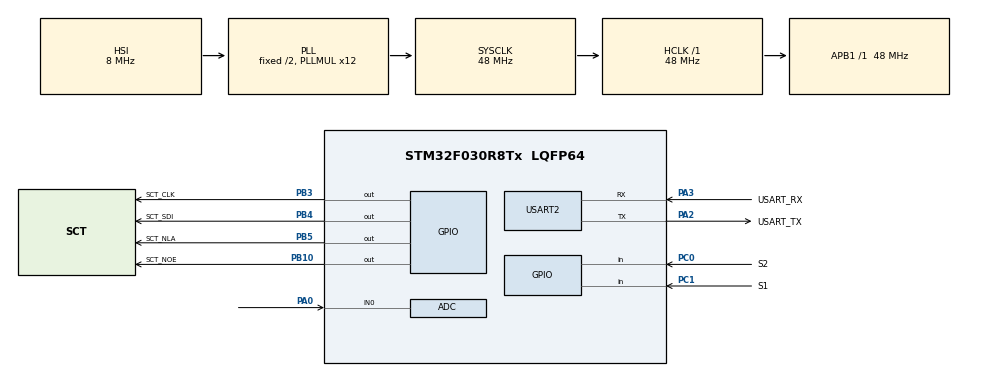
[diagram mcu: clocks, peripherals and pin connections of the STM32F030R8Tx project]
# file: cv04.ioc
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ADC.ContinuousConvMode=ENABLE
ADC.Overrun=ADC_OVR_DATA_OVERWRITTEN
ADC.SamplingTime=ADC_SAMPLETIME_239CYCLES_5
Mcu.Family=STM32F0
Mcu.Name=STM32F030R8Tx
Mcu.Package=LQFP64
NVIC.ADC1_IRQn=true\:0\:0\:false\:false\:true\:true\:true\:true
PA0.Mode=IN0
PA0.Signal=ADC_IN0
PA13.GPIO_Label=TMS
PA13.Mode=Serial_Wire
PA13.Signal=SYS_SWDIO
PA14.GPIO_Label=TCK
PA14.Mode=Serial_Wire
PA14.Signal=SYS_SWCLK
PA2.GPIO_Label=USART_TX
PA2.GPIO_Mode=GPIO_MODE_AF_PP
PA2.GPIO_PuPd=GPIO_NOPULL
PA2.GPIO_Speed=GPIO_SPEED_FREQ_LOW
PA2.Mode=Asynchronous
PA2.Signal=USART2_TX
PA3.GPIO_Label=USART_RX
PA3.GPIO_Mode=GPIO_MODE_AF_PP
PA3.GPIO_PuPd=GPIO_NOPULL
PA3.GPIO_Speed=GPIO_SPEED_FREQ_LOW
PA3.Mode=Asynchronous
PA3.Signal=USART2_RX
PB10.GPIO_Label=SCT_NOE
PB10.Signal=GPIO_Output
PB3.GPIO_Label=SCT_CLK
PB3.Signal=GPIO_Output
PB4.GPIO_Label=SCT_SDI
PB4.Signal=GPIO_Output
PB5.GPIO_Label=SCT_NLA
PB5.Signal=GPIO_Output
PC0.GPIO_Label=S2
PC0.GPIO_PuPd=GPIO_PULLUP
PC0.Signal=GPIO_Input
PC1.GPIO_Label=S1
PC1.GPIO_PuPd=GPIO_PULLUP
PC1.Signal=GPIO_Input
PC14-OSC32_IN.Mode=LSE-External-Oscillator
PC14-OSC32_IN.Signal=RCC_OSC32_IN
PC15-OSC32_OUT.Mode=LSE-External-Oscillator
PC15-OSC32_OUT.Signal=RCC_OSC32_OUT
PF0-OSC_IN.Mode=HSE-External-Clock-Source
PF0-OSC_IN.Signal=RCC_OSC_IN
PF1-OSC_OUT.Signal=RCC_OSC_OUT
ProjectManager.HeapSize=0x200
ProjectManager.StackSize=0x400
ProjectManager.TargetToolchain=STM32CubeIDE
RCC.AHBFreq_Value=48000000
RCC.APB1Freq_Value=48000000
RCC.APB1TimFreq_Value=48000000
RCC.HCLKFreq_Value=48000000
RCC.PLLMUL=RCC_PLL_MUL12
RCC.SYSCLKFreq_VALUE=48000000
RCC.SYSCLKSource=RCC_SYSCLKSOURCE_PLLCLK
USART2.VirtualMode-Asynchronous=VM_ASYNC
VP_ADC_TempSens_Input.Mode=IN-TempSens
VP_ADC_Vref_Input.Mode=IN-Vrefint
board=NUCLEO-F030R8

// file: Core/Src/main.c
/* USER CODE BEGIN Header */
/**
 ******************************************************************************
 * @file           : main.c
 * @brief          : Main program body
 ******************************************************************************
 * @attention
 *
 * Copyright (c) 2025 STMicroelectronics.
 * All rights reserved.
 *
 * This software is licensed under terms that can be found in the LICENSE file
 * in the root directory of this software component.
 * If no LICENSE file comes with this software, it is provided AS-IS.
 *
 ******************************************************************************
 */
/* USER CODE END Header */
#include "main.h"

/* USER CODE BEGIN Includes */
#include "sct.h"
/* USER CODE END Includes */

/* USER CODE BEGIN PD */
#define ADC_Q 12

/* Temperature sensor calibration value address */
#define TEMP110_CAL_ADDR ((uint16_t*) ((uint32_t) 0x1FFFF7C2))
#define TEMP30_CAL_ADDR ((uint16_t*) ((uint32_t) 0x1FFFF7B8))
/* Internal voltage reference calibration value address */
#define VREFINT_CAL_ADDR ((uint16_t*) ((uint32_t) 0x1FFFF7BA))

/* USER CODE END PD */

ADC_HandleTypeDef hadc;

UART_HandleTypeDef huart2;

void SystemClock_Config(void);
static void MX_GPIO_Init(void);
static void MX_USART2_UART_Init(void);
static void MX_ADC_Init(void);

/* USER CODE BEGIN 0 */
static volatile uint32_t raw_pot;
static volatile uint32_t raw_volt;
static volatile int32_t raw_temp;

void HAL_ADC_ConvCpltCallback(ADC_HandleTypeDef* hadc)
{
	static uint8_t channel = 0;
	switch (channel){
	case 0:
		static uint32_t avg_pot;
		raw_pot = avg_pot >> ADC_Q;
		avg_pot -= raw_pot;
		avg_pot += HAL_ADC_GetValue(hadc);
		break;
	case 1:
		raw_temp = HAL_ADC_GetValue(hadc);
		break;
	case 2:
		raw_volt = HAL_ADC_GetValue(hadc);
		break;
	}

	if (__HAL_ADC_GET_FLAG(hadc, ADC_FLAG_EOS)) channel = 0;
	else channel++;

}
/* USER CODE END 0 */

int main(void)
{

  /* MCU Configuration--------------------------------------------------------*/

  /* Reset of all peripherals, Initializes the Flash interface and the Systick. */
  HAL_Init();

  /* Configure the system clock */
  SystemClock_Config();

  /* Initialize all configured peripherals */
  MX_GPIO_Init();
  MX_USART2_UART_Init();
  MX_ADC_Init();
  /* USER CODE BEGIN 2 */
	HAL_ADCEx_Calibration_Start(&hadc);
	HAL_ADC_Start_IT(&hadc);

	sct_init();

	uint16_t value;
  /* USER CODE END 2 */

  /* Infinite loop */
	while (1)
	{

    /* USER CODE BEGIN 3 */

		static enum { SHOW_POT, SHOW_VOLT, SHOW_TEMP } state = SHOW_POT;

		if(HAL_GPIO_ReadPin(S1_GPIO_Port, S1_Pin)==0){
			state = SHOW_VOLT;
		}

		if(HAL_GPIO_ReadPin(S2_GPIO_Port, S2_Pin)==0){
			state = SHOW_TEMP;
		}

		switch (state){
		case SHOW_POT:
			value = (raw_pot*501)/4096;
			uint16_t led = (value*9)/501;
			sct_value(value,led);
			break;
		case SHOW_VOLT:
			uint32_t voltage = 330 * (*VREFINT_CAL_ADDR) / raw_volt;
			sct_value(voltage,8);
			HAL_Delay(1000);
			state = SHOW_POT;
			break;
		case SHOW_TEMP:
			int32_t temperature = (raw_temp - (int32_t)(*TEMP30_CAL_ADDR));
			temperature = temperature * (int32_t)(110 - 30);
			temperature = temperature / (int32_t)(*TEMP110_CAL_ADDR - *TEMP30_CAL_ADDR);
			temperature = temperature + 30;
			sct_value(temperature,8);
			HAL_Delay(1000);
			state = SHOW_POT;
			break;
		}

	}
  /* USER CODE END 3 */
}

void SystemClock_Config(void)
{
  RCC_OscInitTypeDef RCC_OscInitStruct = {0};
  RCC_ClkInitTypeDef RCC_ClkInitStruct = {0};

  /** Initializes the RCC Oscillators according to the specified parameters
  * in the RCC_OscInitTypeDef structure.
  */
  RCC_OscInitStruct.OscillatorType = RCC_OSCILLATORTYPE_HSI|RCC_OSCILLATORTYPE_HSI14;
  RCC_OscInitStruct.HSIState = RCC_HSI_ON;
  RCC_OscInitStruct.HSI14State = RCC_HSI14_ON;
  RCC_OscInitStruct.HSICalibrationValue = RCC_HSICALIBRATION_DEFAULT;
  RCC_OscInitStruct.HSI14CalibrationValue = 16;
  RCC_OscInitStruct.PLL.PLLState = RCC_PLL_ON;
  RCC_OscInitStruct.PLL.PLLSource = RCC_PLLSOURCE_HSI;
  RCC_OscInitStruct.PLL.PLLMUL = RCC_PLL_MUL12;
  RCC_OscInitStruct.PLL.PREDIV = RCC_PREDIV_DIV1;
  if (HAL_RCC_OscConfig(&RCC_OscInitStruct) != HAL_OK)
  {
    Error_Handler();
  }

  /** Initializes the CPU, AHB and APB buses clocks
  */
  RCC_ClkInitStruct.ClockType = RCC_CLOCKTYPE_HCLK|RCC_CLOCKTYPE_SYSCLK
                              |RCC_CLOCKTYPE_PCLK1;
  RCC_ClkInitStruct.SYSCLKSource = RCC_SYSCLKSOURCE_PLLCLK;
  RCC_ClkInitStruct.AHBCLKDivider = RCC_SYSCLK_DIV1;
  RCC_ClkInitStruct.APB1CLKDivider = RCC_HCLK_DIV1;

  if (HAL_RCC_ClockConfig(&RCC_ClkInitStruct, FLASH_LATENCY_1) != HAL_OK)
  {
    Error_Handler();
  }
}

static void MX_ADC_Init(void)
{

  ADC_ChannelConfTypeDef sConfig = {0};

  /** Configure the global features of the ADC (Clock, Resolution, Data Alignment and number of conversion)
  */
  hadc.Instance = ADC1;
  hadc.Init.ClockPrescaler = ADC_CLOCK_ASYNC_DIV1;
  hadc.Init.Resolution = ADC_RESOLUTION_12B;
  hadc.Init.DataAlign = ADC_DATAALIGN_RIGHT;
  hadc.Init.ScanConvMode = ADC_SCAN_DIRECTION_FORWARD;
  hadc.Init.EOCSelection = ADC_EOC_SINGLE_CONV;
  hadc.Init.LowPowerAutoWait = DISABLE;
  hadc.Init.LowPowerAutoPowerOff = DISABLE;
  hadc.Init.ContinuousConvMode = ENABLE;
  hadc.Init.DiscontinuousConvMode = DISABLE;
  hadc.Init.ExternalTrigConv = ADC_SOFTWARE_START;
  hadc.Init.ExternalTrigConvEdge = ADC_EXTERNALTRIGCONVEDGE_NONE;
  hadc.Init.DMAContinuousRequests = DISABLE;
  hadc.Init.Overrun = ADC_OVR_DATA_OVERWRITTEN;
  if (HAL_ADC_Init(&hadc) != HAL_OK)
  {
    Error_Handler();
  }

  /** Configure for the selected ADC regular channel to be converted.
  */
  sConfig.Channel = ADC_CHANNEL_0;
  sConfig.Rank = ADC_RANK_CHANNEL_NUMBER;
  sConfig.SamplingTime = ADC_SAMPLETIME_239CYCLES_5;
  if (HAL_ADC_ConfigChannel(&hadc, &sConfig) != HAL_OK)
  {
    Error_Handler();
  }

  /** Configure for the selected ADC regular channel to be converted.
  */
  sConfig.Channel = ADC_CHANNEL_TEMPSENSOR;
  if (HAL_ADC_ConfigChannel(&hadc, &sConfig) != HAL_OK)
  {
    Error_Handler();
  }

  /** Configure for the selected ADC regular channel to be converted.
  */
  sConfig.Channel = ADC_CHANNEL_VREFINT;
  if (HAL_ADC_ConfigChannel(&hadc, &sConfig) != HAL_OK)
  {
    Error_Handler();
  }

}

static void MX_USART2_UART_Init(void)
{

  huart2.Instance = USART2;
  huart2.Init.BaudRate = 38400;
  huart2.Init.WordLength = UART_WORDLENGTH_8B;
  huart2.Init.StopBits = UART_STOPBITS_1;
  huart2.Init.Parity = UART_PARITY_NONE;
  huart2.Init.Mode = UART_MODE_TX_RX;
  huart2.Init.HwFlowCtl = UART_HWCONTROL_NONE;
  huart2.Init.OverSampling = UART_OVERSAMPLING_16;
  huart2.Init.OneBitSampling = UART_ONE_BIT_SAMPLE_DISABLE;
  huart2.AdvancedInit.AdvFeatureInit = UART_ADVFEATURE_NO_INIT;
  if (HAL_UART_Init(&huart2) != HAL_OK)
  {
    Error_Handler();
  }

}

static void MX_GPIO_Init(void)
{
  GPIO_InitTypeDef GPIO_InitStruct = {0};

  /* GPIO Ports Clock Enable */
  __HAL_RCC_GPIOC_CLK_ENABLE();
  __HAL_RCC_GPIOF_CLK_ENABLE();
  __HAL_RCC_GPIOA_CLK_ENABLE();
  __HAL_RCC_GPIOB_CLK_ENABLE();

  /*Configure GPIO pin Output Level */
  HAL_GPIO_WritePin(GPIOB, SCT_NOE_Pin|SCT_CLK_Pin|SCT_SDI_Pin|SCT_NLA_Pin, GPIO_PIN_RESET);

  /*Configure GPIO pins : S2_Pin S1_Pin */
  GPIO_InitStruct.Pin = S2_Pin|S1_Pin;
  GPIO_InitStruct.Mode = GPIO_MODE_INPUT;
  GPIO_InitStruct.Pull = GPIO_PULLUP;
  HAL_GPIO_Init(GPIOC, &GPIO_InitStruct);

  /*Configure GPIO pins : SCT_NOE_Pin SCT_CLK_Pin SCT_SDI_Pin SCT_NLA_Pin */
  GPIO_InitStruct.Pin = SCT_NOE_Pin|SCT_CLK_Pin|SCT_SDI_Pin|SCT_NLA_Pin;
  GPIO_InitStruct.Mode = GPIO_MODE_OUTPUT_PP;
  GPIO_InitStruct.Pull = GPIO_NOPULL;
  GPIO_InitStruct.Speed = GPIO_SPEED_FREQ_LOW;
  HAL_GPIO_Init(GPIOB, &GPIO_InitStruct);

}

void Error_Handler(void)
{
	__disable_irq();
	while (1)
	{
	}
}
